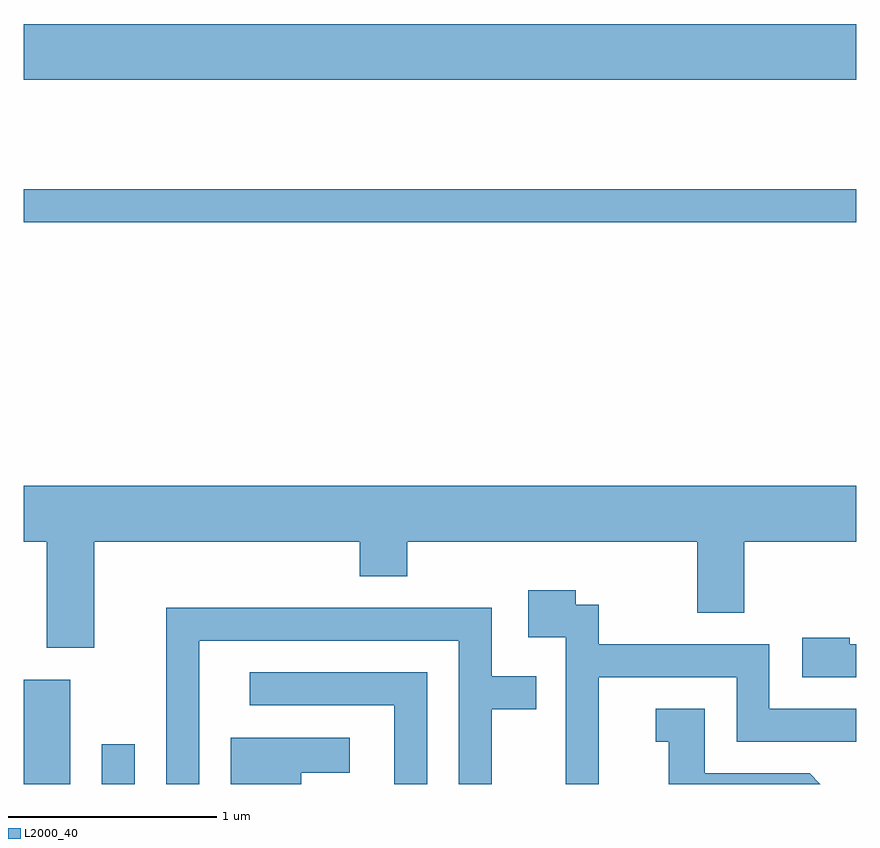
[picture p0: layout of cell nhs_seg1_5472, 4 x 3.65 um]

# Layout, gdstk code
import gdstk
lib = gdstk.Library(unit=1e-6, precision=1e-09)
def R(c, l, rs):  # rectangles x0, y0, x1, y1
    for r in rs: c.add(gdstk.rectangle(r[:2], r[2:], *l))
def P(c, l, *ps):  # polygons
    for p in ps: c.add(gdstk.Polygon(p, *l))
L2000_40 = (2000, 40)

nhs_seg1_5472 = lib.new_cell('nhs_seg1_5472')
R(nhs_seg1_5472, L2000_40, [(349.611,931.712,349.834,932.214), (349.986,931.712,350.144,931.903), (349.611,934.411,353.611,934.569), (349.611,935.096,353.611,935.364)])
P(nhs_seg1_5472, L2000_40, [(349.949,932.876),(351.226,932.876),(351.226,932.711),(351.454,932.711),(351.454,932.876),(352.846,932.876),(352.846,932.536),(353.074,932.536),(353.074,932.876),(353.611,932.876),(353.611,933.144),(349.611,933.144),(349.611,932.876),(349.721,932.876),(349.721,932.366),(349.949,932.366)],
  [(352.374,932.226),(353.036,932.226),(353.036,931.916),(353.611,931.916),(353.611,932.074),(353.194,932.074),(353.194,932.384),(352.374,932.384),(352.374,932.574),(352.264,932.574),(352.264,932.644),(352.036,932.644),(352.036,932.416),(352.216,932.416),(352.216,931.712),(352.374,931.712)],
  [(350.454,932.401),(351.701,932.401),(351.701,931.712),(351.859,931.712),(351.859,932.071),(352.073,932.071),(352.073,932.229),(351.859,932.229),(351.859,932.559),(350.296,932.559),(350.296,931.712),(350.454,931.712)],
  [(353.611,932.384),(353.579,932.384),(353.579,932.414),(353.351,932.414),(353.351,932.226),(353.611,932.226)],
  [(351.549,932.249),(350.698,932.249),(350.698,932.091),(351.391,932.091),(351.391,931.712),(351.549,931.712)],
  [(353.387,931.764),(352.884,931.764),(352.884,932.074),(352.648,932.074),(352.648,931.916),(352.711,931.916),(352.711,931.712),(353.439,931.712)],
  [(350.944,931.766),(351.178,931.766),(351.178,931.934),(350.606,931.934),(350.606,931.712),(350.944,931.712)])

lib.write_gds('nhs_seg1_5472.gds')
